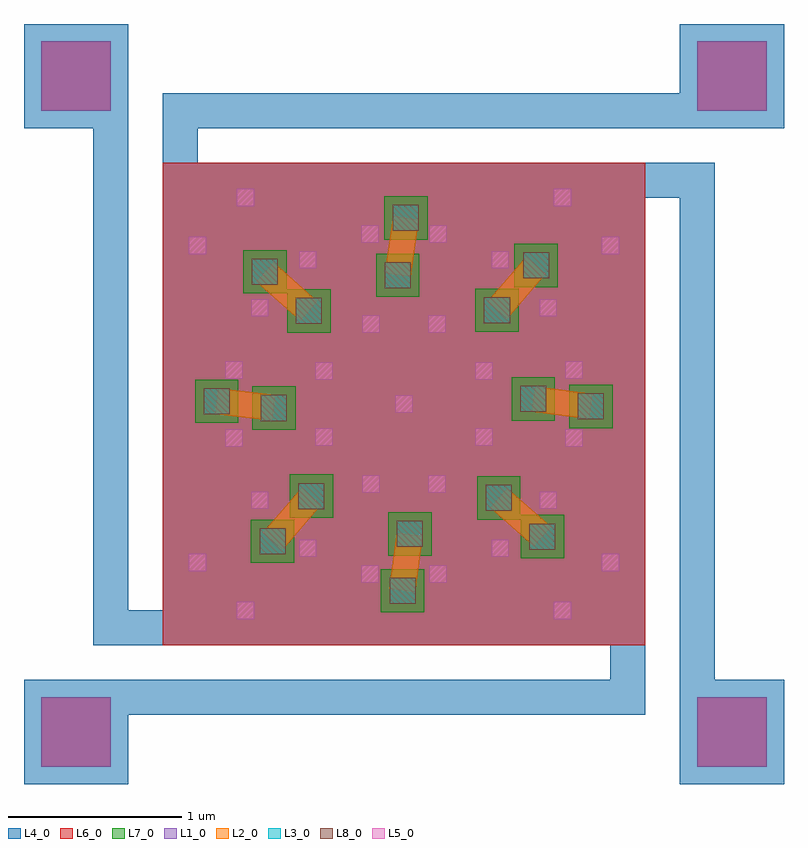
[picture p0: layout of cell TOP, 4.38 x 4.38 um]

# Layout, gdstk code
import gdstk
lib = gdstk.Library(unit=1e-6, precision=1e-09)
def R(c, l, rs):  # rectangles x0, y0, x1, y1
    for r in rs: c.add(gdstk.rectangle(r[:2], r[2:], *l))
def P(c, l, *ps):  # polygons
    for p in ps: c.add(gdstk.Polygon(p, *l))
L1_0 = (1, 0)
L2_0 = (2, 0)
L3_0 = (3, 0)
L4_0 = (4, 0)
L5_0 = (5, 0)
L6_0 = (6, 0)
L7_0 = (7, 0)
L8_0 = (8, 0)

top = lib.new_cell('TOP')
R(top, L1_0, [(-2.09,-2.09,-1.69,-1.69), (1.69,-2.09,2.09,-1.69), (-2.09,1.69,-1.69,2.09), (1.69,1.69,2.09,2.09)])
P(top, L2_0, [(-0.7,-0.84),(-0.813,-0.742),(-0.59,-0.482),(-0.477,-0.58)],
  [(0.065,-1.085),(-0.084,-1.066),(-0.041,-0.741),(0.108,-0.76)],
  [(0.749,-0.82),(0.496,-0.598),(0.595,-0.486),(0.848,-0.708)],
  [(1.067,-0.089),(0.736,-0.046),(0.755,0.103),(1.086,0.06)],
  [(0.594,0.492),(0.48,0.59),(0.704,0.848),(0.818,0.75)],
  [(0.039,0.732),(-0.11,0.753),(-0.063,1.084),(0.086,1.063)],
  [(-0.598,0.481),(-0.851,0.705),(-0.752,0.817),(-0.499,0.593)],
  [(-0.76,-0.097),(-1.088,-0.058),(-1.07,0.091),(-0.742,0.052)])
R(top, L3_0, [(-0.083,-1.151,0.067,-1.001), (-0.832,-0.866,-0.682,-0.716), (0.723,-0.839,0.873,-0.689), (-0.041,-0.824,0.109,-0.674), (0.471,-0.616,0.621,-0.466), (-0.609,-0.606,-0.459,-0.456), (-0.825,-0.098,-0.675,0.052), (1.002,-0.089,1.152,0.061), (-1.154,-0.059,-1.004,0.091), (0.67,-0.046,0.82,0.104), (-0.623,0.462,-0.473,0.612), (0.461,0.465,0.611,0.615), (-0.111,0.667,0.039,0.817), (-0.877,0.687,-0.727,0.837), (0.686,0.724,0.836,0.874), (-0.064,0.998,0.086,1.148)])
P(top, L4_0, [(-2.19,-2.19),(-2.19,-1.59),(1.19,-1.59),(1.19,-1.39),(-1.79,-1.39),(-1.79,1.59),(-2.19,1.59),(-2.19,2.19),(-1.59,2.19),(-1.59,-1.19),(-1.39,-1.19),(-1.39,1.79),(1.59,1.79),(1.59,2.19),(2.19,2.19),(2.19,1.59),(-1.19,1.59),(-1.19,1.39),(1.79,1.39),(1.79,-1.59),(2.19,-1.59),(2.19,-2.19),(1.59,-2.19),(1.59,1.19),(1.39,1.19),(1.39,-1.79),(-1.59,-1.79),(-1.59,-2.19)])
R(top, L5_0, [(-0.963,-1.24,-0.863,-1.14), (0.863,-1.24,0.963,-1.14), (-0.245,-1.03,-0.145,-0.93), (0.145,-1.03,0.245,-0.93), (-1.24,-0.963,-1.14,-0.863), (1.14,-0.963,1.24,-0.863), (-0.605,-0.881,-0.505,-0.781), (0.505,-0.881,0.605,-0.781), (-0.881,-0.605,-0.781,-0.505), (0.781,-0.605,0.881,-0.505), (-0.241,-0.511,-0.141,-0.411), (0.141,-0.511,0.241,-0.411), (-1.03,-0.245,-0.93,-0.145), (0.93,-0.245,1.03,-0.145), (-0.511,-0.241,-0.411,-0.141), (0.411,-0.241,0.511,-0.141), (-0.05,-0.05,0.05,0.05), (-0.511,0.141,-0.411,0.241), (0.411,0.141,0.511,0.241), (-1.03,0.145,-0.93,0.245), (0.93,0.145,1.03,0.245), (-0.241,0.411,-0.141,0.511), (0.141,0.411,0.241,0.511), (-0.881,0.505,-0.781,0.605), (0.781,0.505,0.881,0.605), (-0.605,0.781,-0.505,0.881), (0.505,0.781,0.605,0.881), (-1.24,0.863,-1.14,0.963), (1.14,0.863,1.24,0.963), (-0.245,0.93,-0.145,1.03), (0.145,0.93,0.245,1.03), (-0.963,1.14,-0.863,1.24), (0.863,1.14,0.963,1.24)])
R(top, L6_0, [(-2.09,-2.09,-1.69,-1.69), (1.69,-2.09,2.09,-1.69), (-1.39,-1.39,1.39,1.39), (-2.09,1.69,-1.69,2.09), (1.69,1.69,2.09,2.09)])
R(top, L7_0, [(-0.133,-1.201,0.117,-0.951), (-0.882,-0.916,-0.632,-0.666), (0.673,-0.889,0.923,-0.639), (-0.091,-0.874,0.159,-0.624), (0.421,-0.666,0.671,-0.416), (-0.659,-0.656,-0.409,-0.406), (-0.875,-0.148,-0.625,0.102), (0.952,-0.139,1.202,0.111), (-1.204,-0.109,-0.954,0.141), (0.62,-0.096,0.87,0.154), (-0.673,0.412,-0.423,0.662), (0.411,0.415,0.661,0.665), (-0.161,0.617,0.089,0.867), (-0.927,0.637,-0.677,0.887), (0.636,0.674,0.886,0.924), (-0.114,0.948,0.136,1.198)])
R(top, L8_0, [(-0.083,-1.151,0.067,-1.001), (-0.832,-0.866,-0.682,-0.716), (0.723,-0.839,0.873,-0.689), (-0.041,-0.824,0.109,-0.674), (0.471,-0.616,0.621,-0.466), (-0.609,-0.606,-0.459,-0.456), (-0.825,-0.098,-0.675,0.052), (1.002,-0.089,1.152,0.061), (-1.154,-0.059,-1.004,0.091), (0.67,-0.046,0.82,0.104), (-0.623,0.462,-0.473,0.612), (0.461,0.465,0.611,0.615), (-0.111,0.667,0.039,0.817), (-0.877,0.687,-0.727,0.837), (0.686,0.724,0.836,0.874), (-0.064,0.998,0.086,1.148)])

lib.write_gds('TOP.gds')
